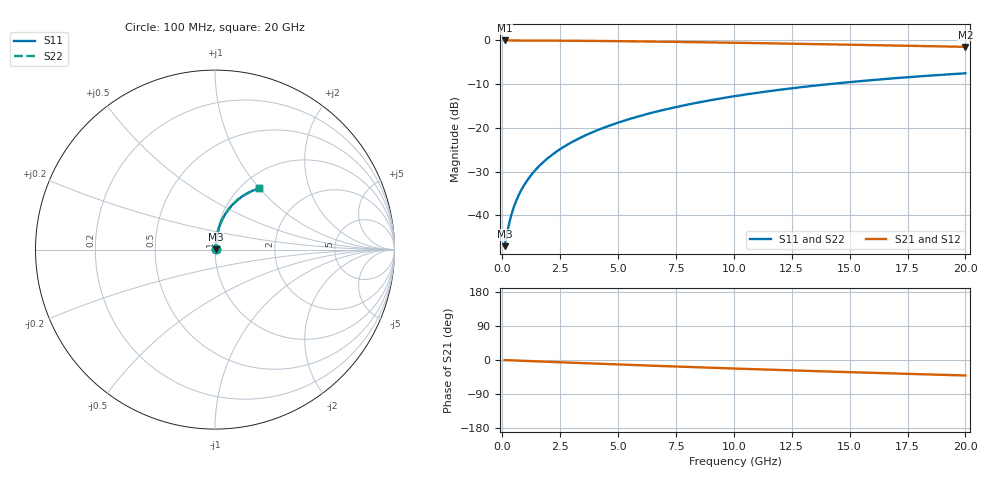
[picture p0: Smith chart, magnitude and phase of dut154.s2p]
! Touchstone file exported from HFSS 2024.1.0
!  File:  C:/UserFiles/LocalFiles/RDL_TSV_Batchsim/temp_RDL_bottom_154_1778697541.aedt
!  Generated:  02:41:57 AM May 14, 2026
!  Design:  RDL_bottom
!  Project:  temp_RDL_bottom_154_1778697541
!  Setup:  Setup1
!  Solution:  Sweep
! Variables:
!  dtsv = 10.80580581um
!  hbump = 3um
!  htsv = 99.17um
!  ldown = 529.25um
!  lrdl = 100um
!  p = 40
!  p1 = 52.36um
!  rhole = 1um
!  t = 450um
!  tdown = 2.94um
!  trdl = 3.915915916um
!  wdown = 17.9um
!  wrdl = 20um
# GHz S MA R 50.000000
! Terminal data exported
! Port[1] = RDL1_T1
! Port[2] = RDL1_T2
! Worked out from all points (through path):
!   200 points, 100 MHz to 20 GHz, reference 50 ohm
!   highest |S21| = -0.03 dB at 100 MHz (marker M1); lowest = -1.5 dB at 20 GHz (marker M2)
!   group delay of S21, straight-line fit = 5.65 ps
!   lowest |S11| = -47.0 dB at 100 MHz (marker M3), VSWR 1.01, Z = 50.4 + j0.244 ohm
!   |S11| at or under -10 dB: start of sweep to 14.13 GHz
!   |S22| runs from -47.0 to -7.5 dB; largest |S21 - S12| = 2.6e-15
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0.1  0.00446 32.9  0.9963 -0.3  0.9963 -0.3  0.00446 32.9
! Gamma 0 0 0 0
! Port Impedance 50 0 50 0
0.2  0.006161 51.4  0.9961 -0.5  0.9961 -0.5  0.006161 51.4
0.3  0.008194 60.9  0.996 -0.7  0.996 -0.7  0.008194 60.9
0.4  0.01033 66.4  0.9958 -1.0  0.9958 -1.0  0.01033 66.4
0.5  0.01249 69.9  0.9957 -1.2  0.9957 -1.2  0.01249 69.9
0.6  0.01467 72.4  0.9955 -1.5  0.9955 -1.5  0.01467 72.4
0.8  0.01906 75.7  0.9951 -2.0  0.9951 -2.0  0.01906 75.7
1.1  0.02568 78.5  0.9946 -2.7  0.9946 -2.7  0.02568 78.4
1.3  0.03013 79.6  0.9942 -3.1  0.9942 -3.1  0.03013 79.6
1.6  0.03684 80.7  0.9935 -3.9  0.9935 -3.9  0.03684 80.7
2.1  0.04812 81.6  0.9921 -5.0  0.9921 -5.0  0.04812 81.6
2.7  0.06176 81.9  0.9899 -6.5  0.9899 -6.5  0.06176 81.9
3.5  0.08009 81.6  0.9864 -8.3  0.9864 -8.3  0.08008 81.6
4.2  0.09624 81.0  0.9827 -10.0  0.9827 -10.0  0.09623 81.0
5  0.1148 80.1  0.9779 -11.8  0.9779 -11.8  0.1148 80.1
5.9  0.1357 78.9  0.9718 -13.8  0.9718 -13.8  0.1357 78.9
6.8  0.1566 77.5  0.9652 -15.8  0.9652 -15.8  0.1566 77.5
8.4  0.1934 74.9  0.9522 -19.2  0.9522 -19.2  0.1934 74.8
10.1  0.2317 71.8  0.9374 -22.7  0.9374 -22.7  0.2316 71.8
13.4  0.3017 65.8  0.9065 -29.1  0.9065 -29.1  0.3016 65.7
16.7  0.3647 59.8  0.8744 -35.2  0.8744 -35.2  0.3646 59.8
20  0.4201 54.2  0.8423 -40.8  0.8423 -40.8  0.4199 54.2
